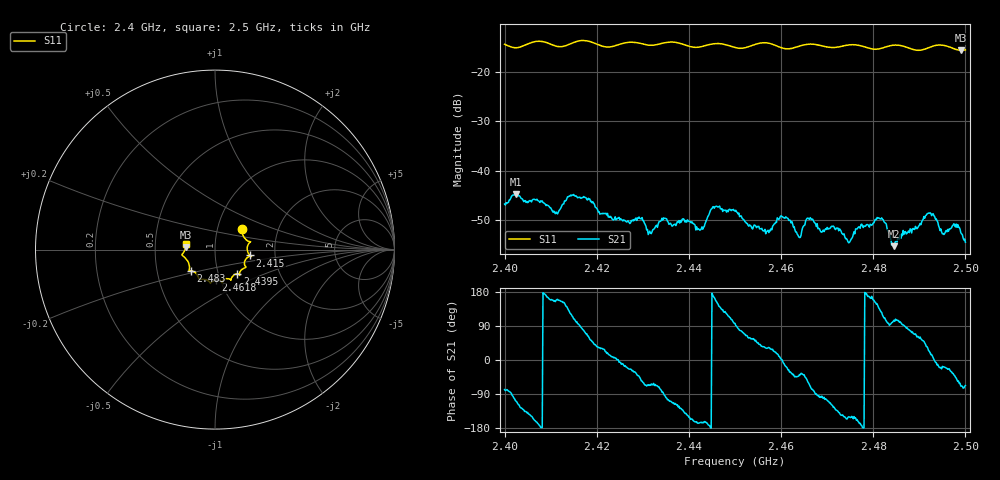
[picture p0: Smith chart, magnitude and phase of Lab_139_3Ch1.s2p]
# Hz S RI R 50
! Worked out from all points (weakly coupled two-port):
!   601 points, 2.4 GHz to 2.5 GHz, reference 50 ohm
!   highest |S21| = -44.68 dB at 2.4025 GHz (marker M1); lowest = -55.2 dB at 2.4845 GHz (marker M2)
!   lowest |S11| = -15.7 dB at 2.499 GHz (marker M3), VSWR 1.39, Z = 35.9 + j1.12 ohm
!   |S11| at or under -10 dB: start of sweep to end of sweep
!   S12 and S22 are empty: the file has one direction only
!   S11 on the Smith chart (normalised r, x): 2.4 GHz: 1.31, +0.31; 2.415 GHz: 1.48, -0.10; 2.4395 GHz: 1.23, -0.34; 2.4618 GHz: 0.95, -0.33; 2.483 GHz: 0.74, -0.18; 2.5 GHz: 0.72, +0.05
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2.4e9  0.151 0.1143  0.000955 -0.00452  0 0  0 0
2.4025e9  0.1582 0.0742  -0.0019 -0.00551  0 0  0 0
2.411e9  0.1814 0.0196  -0.00332 0.00162  0 0  0 0
2.415e9  0.1946 -0.0325  -0.00181 0.00548  0 0  0 0
2.416667e9  0.203 -0.0387  0.000442 0.00528  0 0  0 0
2.431333e9  0.1465 -0.1134  0.000917 -0.00218  0 0  0 0
2.433333e9  0.137 -0.131  0.000955 -0.00274  0 0  0 0
2.4395e9  0.1246 -0.1352  -0.00243 -0.00181  0 0  0 0
2.45e9  0.0689 -0.1619  -0.000461 0.00389  0 0  0 0
2.4565e9  0.0434 -0.1914  0.00215 0.00141  0 0  0 0
2.461833e9  0.00397 -0.1709  0.0027 -0.00167  0 0  0 0
2.463833e9  -0.019 -0.1799  0.00159 -0.00145  0 0  0 0
2.466667e9  -0.0258 -0.1885  0.000711 -0.00314  0 0  0 0
2.474667e9  -0.0838 -0.1667  -0.00162 -0.000942  0 0  0 0
2.480833e9  -0.1139 -0.1251  -0.00287 0.00178  0 0  0 0
2.483e9  -0.1356 -0.1178  -0.000435 0.00258  0 0  0 0
2.483333e9  -0.1383 -0.1176  -0.000277 0.00237  0 0  0 0
2.4845e9  -0.1439 -0.1172  -0.000445 0.00168  0 0  0 0
2.492e9  -0.1697 -0.0428  0.0034 0.00159  0 0  0 0
2.495e9  -0.1836 -0.0273  0.00221 -0.00067  0 0  0 0
2.499e9  -0.1635 0.0151  0.000858 -0.00221  0 0  0 0
2.5e9  -0.163 0.033  0.000734 -0.00175  0 0  0 0
